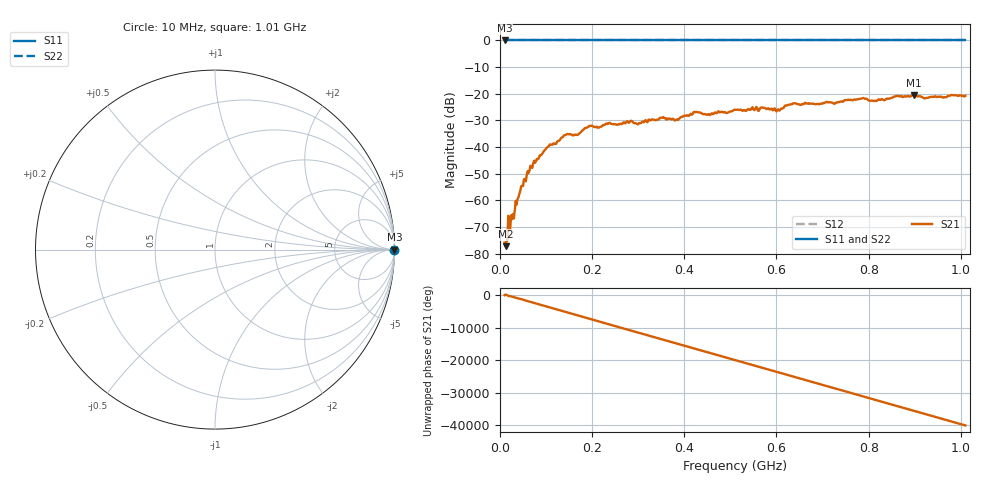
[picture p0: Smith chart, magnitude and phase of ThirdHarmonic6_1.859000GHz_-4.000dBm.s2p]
! 8/16/2025 10:28:51 PM
! C:\ANRITSUVNA\TEMP\TEMP.S2P
! CHANNEL.1
! TR.MEASUREMENT
! RAW.DATA
! RF.CORRECTION.OFF
! AVERAGING.OFF
! IF.BANDWIDTH: 5KHZ
! SWEEPTYPE:  FREQ.SWEEP(Linear)
! Reference Plane Port Info
! PORT:  PORT1  PORT2
! DISTANCE:  0  m  0  m
! TIME:  0  s  0  s
! PHASE.OFFSET:  0  deg.  0  deg.
! LOSS:  0  dB  0  dB
! REF.LOSS:  0  dB  0  dB
! REF.FREQ:  0  Hz  0  Hz
! Power Info
! POWER:  -20  dBm  -20  dBm
! EFF.POWER:  -20  dBm  -20  dBm
! SOURCE.ATTEN:  0  dB  0  dB
! TEST.ATTEN:  0  dB  0  dB
# GHZ S RI R 50.0
! FREQ.GHZ  S11RE  S11IM  S21RE  S21IM  S12RE  S12IM  S22RE  S22IM
!; PortSelection: Port_12
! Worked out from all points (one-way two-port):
!   501 points, 10 MHz to 1.01 GHz, reference 50 ohm
!   highest |S21| = -20.40 dB at 898 MHz (marker M1); lowest = -77.1 dB at 12 MHz (marker M2)
!   lowest |S11| = 0.0 dB at 10 MHz (marker M3)
!   |S11| at or under -10 dB: nowhere
!   |S22| runs from 0.0 to 0.0 dB; largest |S21 - S12| = 1.1
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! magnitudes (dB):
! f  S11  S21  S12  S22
! 10 MHz  0.0  -75.8  0.0  0.0
! 12 MHz  0.0  -77.1  0.0  0.0
! 22 MHz  0.0  -71.2  0.0  0.0
! 26 MHz  0.0  -67.0  0.0  0.0
! 44 MHz  0.0  -56.4  0.0  0.0
! 70 MHz  0.0  -47.8  0.0  0.0
! 106 MHz  0.0  -39.6  0.0  0.0
! 142 MHz  0.0  -35.5  0.0  0.0
! 178 MHz  0.0  -33.8  0.0  0.0
! 196 MHz  0.0  -32.1  0.0  0.0
! 344 MHz  0.0  -29.7  0.0  0.0
! 382 MHz  0.0  -29.7  0.0  0.0
! 424 MHz  0.0  -26.9  0.0  0.0
! 452 MHz  0.0  -27.6  0.0  0.0
! 510 MHz  0.0  -26.0  0.0  0.0
! 604 MHz  0.0  -25.8  0.0  0.0
! 638 MHz  0.0  -23.6  0.0  0.0
! 678 MHz  0.0  -23.7  0.0  0.0
! 844 MHz  0.0  -21.9  0.0  0.0
! 898 MHz  0.0  -20.4  0.0  0.0
! 924 MHz  0.0  -21.6  0.0  0.0
! 1.01 GHz  0.0  -20.7  0.0  0.0
